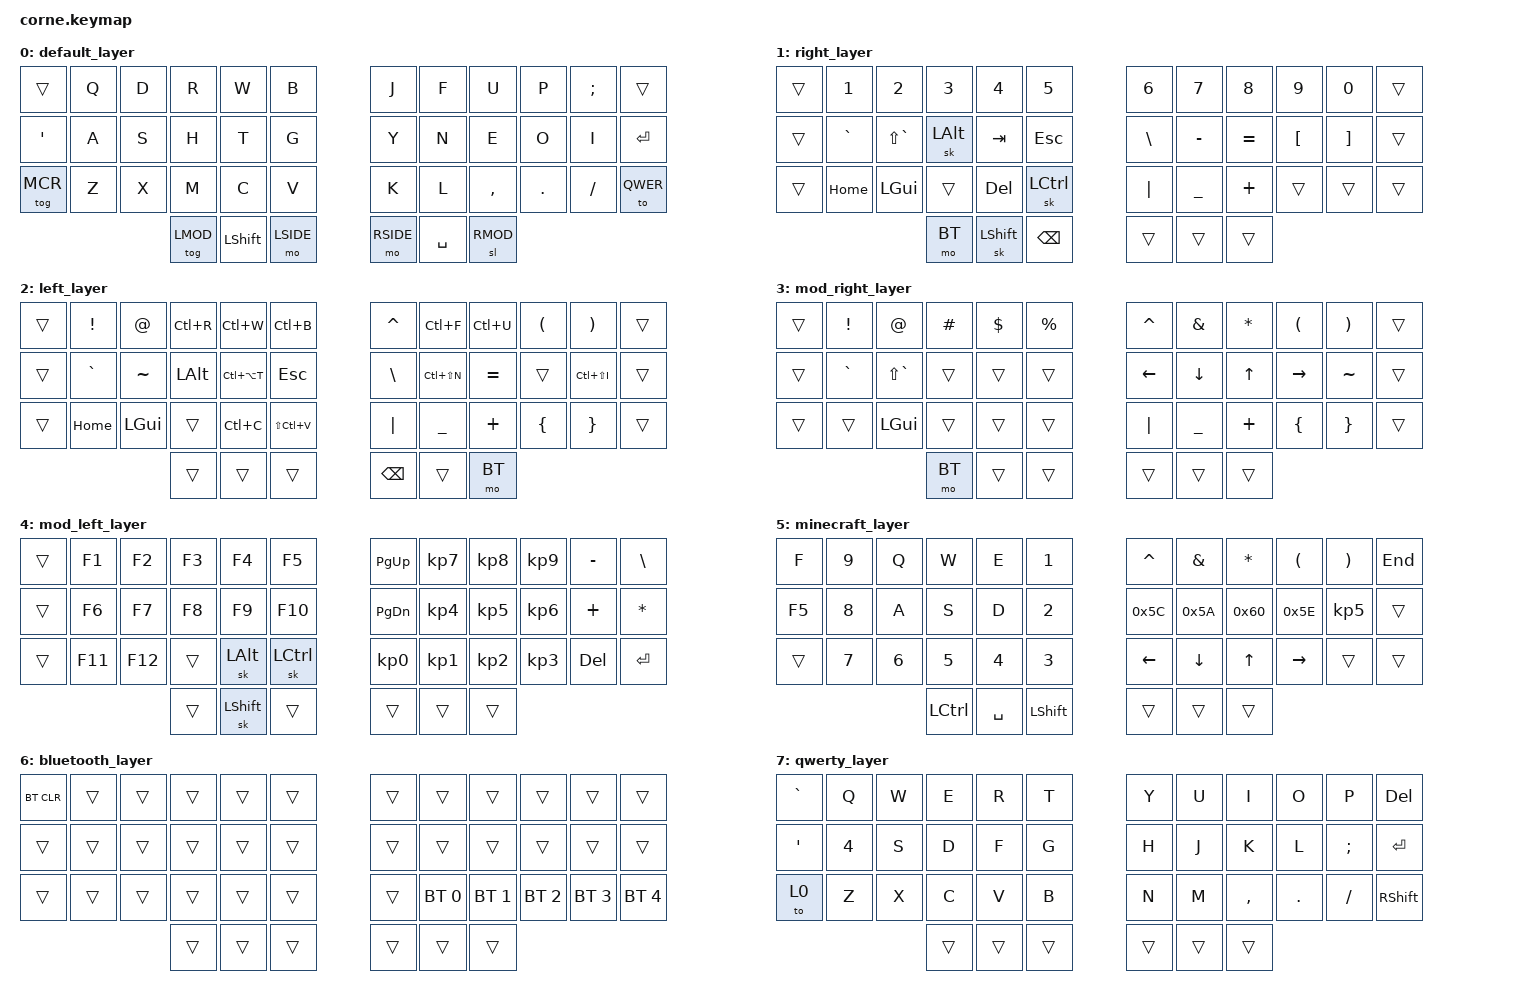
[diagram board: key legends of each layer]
#include <behaviors.dtsi>
#include <dt-bindings/zmk/keys.h>
#include <dt-bindings/zmk/bt.h>

#define DEFAULT 0
#define RSIDE   1
#define LSIDE   2
#define RMOD    3
#define LMOD    4
#define MCR     5
#define BT      6
#define QWER    7

#define AS(keycode) &as LS(keycode) keycode

&lt {
  tapping-term-ms = <139>;
  flavor = "balanced";
};

/ {
// -----------------------------------------------------------------------------------------
// |  0  | 1 |  2  |  3  |  4  |  5  |                  |  6  |  7   |  8  |  9  | 10  | 11  |
// | 12  | 13|  14 |  15 |  16 |  17 |                  |  18 |  19  |  20 |  21 |  22 | 23  |
// | 24  | 25|  26 |  27 |  28 |  29 |                  |  30 |  31  |  32 |  33 |  34 | 35  |
//                        | 36 | 37 | 38 |          | 39 | 40 | 41 |

        //combos {
        //        compatible = "zmk,combos";
        //        combo_minus {
        //          timeout-ms = <50>;
        //          key-positions = <19 39>;
        //          bindings = <&kp MINUS>;
        //        };
        //};
 
        behaviors {
                as: auto_shift {
                        compatible = "zmk,behavior-hold-tap";
                        label = "AUTO_SHIFT";
                        #binding-cells = <2>;
                        tapping_term_ms = <145>;
                        quick_tap_ms = <0>;
                        flavor = "tap-preferred";
                        bindings = <&kp>, <&kp>;
                };

                hm: homerow_mods {
                        compatible = "zmk,behavior-hold-tap";
                        label = "HOMEROW_MODS";
                        #binding-cells = <2>;
                        tapping-term-ms = <120>;
                        quick_tap_ms = <0>;
                        flavor = "tap-preferred";
                        bindings = <&kp>, <&kp>;
                };
        };
        
        keymap {
                compatible = "zmk,keymap";

                default_layer {
// -----------------------------------------------------------------------------------------
// |     | Q |  D  |  R  |  W  |  B  |                  |  J  |  F   |  U  |  P  |  ;  |     |
// |  '  | A |  S  |  H  |  T  |  G  |                  |  Y  |  N   |  E  |  O  |  I  |ENTER|
// | MCR | Z |  X  |  M  |  C  |  V  |                  |  K  |  L   |  ,  |  .  |  /  | QWER|
//                  | LMOD | SHFT | LEFT |          | RIGHT | SPACE  | RMOD |
                        bindings = <
   &trans    &kp Q &kp D  &kp R  &kp W  &kp B           &kp J &kp F   &kp U      &kp P   &kp SEMI  &trans
   &kp SQT   &kp A &kp S  &kp H  &kp T  &kp G           &kp Y &kp N   &kp E      &kp O   &kp I     &kp ENTER
   &tog MCR  &kp Z &kp X  &kp M  &kp C  &kp V           &kp K &kp L   &kp COMMA  &kp DOT &kp FSLH  &to QWER
                    &tog LMOD &kp LSHFT &mo LSIDE     &mo RSIDE &kp SPACE &sl RMOD
                        >;
                };

                right_layer {
// -----------------------------------------------------------------------------------------
// |    |  1  |  2  |  3  |  4  |  5  |                                       |  6  |  7  |  8  |  9  |  0  |     |
// |    |  `  |  ~  | LALT| TAB | ESC |                                       |  \  |  -  |  =  |  [  |  ]  |     |
// |    | HOME| GUI |     | DEL | CTL |                                       | '|' |  _  |  +  |     |     |     |
//                          | BT |       | BSPC |                          | ENT |     | lower_layer |
                        bindings = <
   &trans    &kp N1    &kp N2         &kp N3   &kp N4    &kp N5                &kp N6    &kp N7     &kp N8    &kp N9    &kp N0    &trans
   &trans    &kp GRAVE &kp LS(GRAVE)  &sk LALT &kp TAB   &kp ESC               &kp BSLH  &kp MINUS  &kp EQUAL &kp LBKT  &kp RBKT  &trans
   &trans    &kp HOME  &kp LGUI       &trans   &kp DEL   &sk LCTRL             &kp PIPE  &kp UNDER  &kp PLUS  &trans    &trans    &trans
                                           &mo BT &sk LSHFT &kp BSPC         &trans &trans &trans
                        >;
                };

                left_layer {
// -----------------------------------------------------------------------------------------
// |    |  !  |  @  |LC(R)|LC(W)|LC(B)|                                |  ^  |LC(F)|LC(U)| ( |  )  |     |
// |    |  `  |  ~  | ALT | CAT | ESC |                                |  \  |CS(N)|  =  |   |CS(I)|     |
// |    |HOME | GUI |     |LC(C)| SCV |                                | '|' |  _  |  +  | { |  }  |     |
//                              |    |   |    |                   | BSPC |       | BT |
                        bindings = <
   &trans  &kp EXCL   &kp AT    &kp LC(R) &kp LC(W)     &kp LC(B)             &kp CARET  &kp LC(F)     &kp LC(U)   &kp LPAR  &kp RPAR       &trans
   &trans  &kp GRAVE  &kp TILDE &kp LALT  &kp LC(LA(T)) &kp ESC               &kp BSLH   &kp LC(LS(N)) &kp EQUAL   &trans   &kp LC(LS(I))  &trans
   &trans  &kp HOME   &kp LGUI  &trans    &kp LC(C)     &kp LS(LC(V))         &kp PIPE   &kp UNDER     &kp PLUS    &kp LBRC  &kp RBRC       &trans
                                                  &trans &trans &trans       &kp BSPC &trans &mo BT
                        >;
                };

                mod_right_layer {
// -----------------------------------------------------------------------------------------
// |    |  !  |  @  |  #  |  $  |  %  |                                |  ^  |  &  |  *  |  (  |  )  |     |
// |    |  `  |  ~  |     |     |     |                                | LFT | DWN | UP  | RGT |  ~  |     |
// |    |     | GUI |     |     |     |                                | '|' |  _  |  +  |  {  |  }  |     |
//                              |    |   |    |                   |       |      | BT |
                        bindings = <
   &trans  &kp EXCL    &kp AT         &kp HASH &kp DLLR  &kp PRCNT            &kp CARET       &kp AMPS  &kp STAR  &kp LPAR         &kp RPAR  &trans
   &trans  &kp GRAVE   &kp LS(GRAVE)  &trans   &trans    &trans               &kp LEFT_ARROW  &kp DOWN  &kp UP    &kp RIGHT_ARROW  &kp TILDE &trans
   &trans  &trans      &kp LGUI       &trans   &trans    &trans               &kp PIPE        &kp UNDER &kp PLUS  &kp LBRC         &kp RBRC  &trans
                                               &mo BT  &trans &trans       &trans &trans &trans
                        >;
                };

                mod_left_layer {
// -----------------------------------------------------------------------------------------
// |    | F1  | F2  | F3  | F4  | F5  |                  | PGUP|  7  |  8  |  9  |  -  |  /  |
// |    | F6  | F7  | F8  | F9  | F10 |                  | PGDN|  4  |  5  |  6  |  +  |  *  |
// |    | F11 | F12 |     | ALT | CTL |                  |  0  |  1  |  2  |  3  | DEL | ENT |
//                         |    | SHFT |    |        |       |      |    |
                        bindings = <
   &trans  &kp F1  &kp F2  &kp F3  &kp F4   &kp F5             &kp PG_UP  &kp KP_N7 &kp KP_N8 &kp KP_N9  &kp MINUS  &kp BSLH
   &trans  &kp F6  &kp F7  &kp F8  &kp F9   &kp F10            &kp PG_DN  &kp KP_N4 &kp KP_N5 &kp KP_N6  &kp PLUS   &kp STAR
   &trans  &kp F11 &kp F12 &trans  &sk LALT &sk LCTRL          &kp KP_N0  &kp KP_N1 &kp KP_N2 &kp KP_N3  &kp DEL    &kp ENTER
                               &trans  &sk LSHFT &trans      &trans &trans &trans
                        >;
                };

                minecraft_layer {
// -----------------------------------------------------------------------------------------
// |  F  |  9  |  Q  |  W  |  E  |  1  |                                |  ^  |  &  |  *  |  (  |  )  | END  |
// |  F5 |  8  |  A  |  S  |  D  |  2  |                                | NP4 | NP2 | NP8 | NP6 | NP5 |      |
// | tog |  7  |  6  |  5  |  4  |  3  |                                | LFT | DWN |  UP | RGT |     |      |
//               | CTRL  | SPACE  | SHFT |                   | ENT |     | lower_layer |
                        bindings = <
   &kp F     &kp N9   &kp Q    &kp W     &kp E     &kp N1                     &kp CARET       &kp AMPERSAND  &kp STAR  &kp LPAR         &kp RPAR  &kp END
   &kp F5    &kp N8   &kp A    &kp S     &kp D     &kp N2                     &kp 0x5C        &kp 0x5A       &kp 0x60  &kp 0x5E         &kp KP_N5 &trans
   &trans    &kp N7   &kp N6   &kp N5    &kp N4    &kp N3                     &kp LEFT_ARROW  &kp DOWN       &kp UP    &kp RIGHT_ARROW  &trans    &trans
                                    &kp LCTRL  &kp SPACE &kp LSHFT       &trans &trans &trans
                        >;
                };

                bluetooth_layer {
// -----------------------------------------------------------------------------------------
// |  BTC |     |     |     |     |     |                                |     |     |     |     |     |      |
// |      |     |     |     |     |     |                                |     |     |     |     |     |      |
// |      |     |     |     |     |     |                                |     | BT0 | BT1 | BT2 | BT3 | BT4  | // TODO: Fix this row when &mkp is committed
//                    | raise_layer |   | SHFT |                   | ENT |     | lower_layer |
                        bindings = <
   &bt BT_CLR  &trans   &trans   &trans  &trans    &trans            &trans   &trans        &trans        &trans         &trans        &trans
   &trans      &trans   &trans   &trans  &trans    &trans            &trans   &trans        &trans        &trans         &trans        &trans
   &trans      &trans   &trans   &trans  &trans    &trans            &trans   &bt BT_SEL 0  &bt BT_SEL 1  &bt BT_SEL 2   &bt BT_SEL 3  &bt BT_SEL 4
                                      &trans  &trans &trans       &trans &trans &trans
                        >;
                };
                
                qwerty_layer {
// -----------------------------------------------------------------------------------------
// |   `  |  Q  |  W  |  E  |  R  |  T  |              |  Y  |  U   |  I  |  O  |  P  | DEL |
// |  '   |  A  |  S  |  D  |  F  |  G  |              |  H  |  J   |  K  |  L  |  ;  | ENT |
// | tog  |  Z  |  X  |  C  |  V  |  B  |              |  N  |  M   |  ,  |  .  |  /  | SHFT|
//                  | LEFT | SHIFT | CTL,TAB |   | ALT,ENT | SPACE  | RIGHT |
                        bindings = <
   &kp GRAVE  &kp Q &kp W &kp E &kp R &kp T              &kp Y &kp U  &kp I     &kp O   &kp P     &kp DEL
   &kp SQT    &kp 4 &kp S &kp D &kp F &kp G              &kp H &kp J  &kp K     &kp L   &kp SCLN  &kp ENTER
   &to 0      &kp Z &kp X &kp C &kp V &kp B              &kp N &kp M  &kp COMMA &kp DOT &kp FSLH  &kp RSHFT
                            &trans &trans &trans     &trans &trans &trans
                        >;
                };
        };
};
